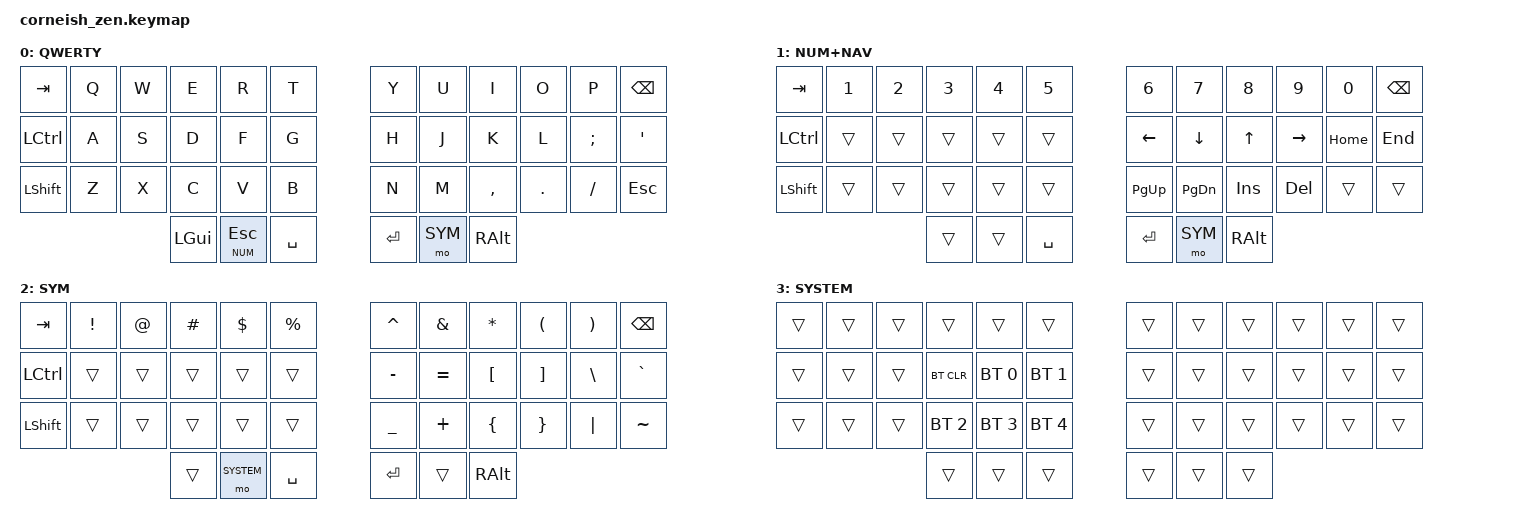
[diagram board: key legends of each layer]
// vim: ft=cpp

#include <behaviors.dtsi>
#include <dt-bindings/zmk/keys.h>
#include <dt-bindings/zmk/bt.h>

#define QWERTY 0
#define NUM 1
#define SYM 2
#define SYSTEM 3

/ {
  keymap {
    compatible = "zmk,keymap";

    /**********************************************************************
     * QWERTY (BASE)
     *
     * -----------------------------------------------------------------------------------------
     * |  TAB |  Q  |  W  |  E  |  R  |  T  |   |  Y  |  U  |  I  |  O  |  P  | BKSP |
     * | CTRL |  A  |  S  |  D  |  F  |  G  |   |  H  |  J  |  K  |  L  |  ;  |  '   |
     * | SHFT |  Z  |  X  |  C  |  V  |  B  |   |  N  |  M  |  ,  |  .  |  /  | ESC  |
     *                    | GUI | LWR | SPC |   | ENT | RSE  | ALT |
     *
     * LWR is layer-tap: tap=ESC, hold=NUM
     **********************************************************************/
    default_layer {
      label = "QWERTY";
      bindings = <
        &kp TAB   &kp Q &kp W &kp E &kp R &kp T      &kp Y     &kp U     &kp I     &kp O     &kp P     &kp BSPC
        &kp LCTRL &kp A &kp S &kp D &kp F &kp G      &kp H     &kp J     &kp K     &kp L     &kp SEMI  &kp SQT
        &kp LSHFT &kp Z &kp X &kp C &kp V &kp B      &kp N     &kp M     &kp COMMA &kp DOT   &kp FSLH  &kp ESC
                           &kp LGUI &lt NUM ESC &kp SPACE      &kp RET   &mo SYM   &kp RALT
      >;
    };

    /**********************************************************************
     * NUM (Numbers + Navigation)
     *
     * -----------------------------------------------------------------------------------------
     * |  TAB |  1  |  2  |  3  |  4  |  5  |   |  6  |  7  |  8  |  9  |  0  | BKSP |
     * | CTRL |     |     |     |     |     |   | LEFT| DOWN|  UP | RGT |HOME | END  |
     * | SHFT |     |     |     |     |     |   |PGUP |PGDN | INS | DEL |     |      |
     **********************************************************************/
    num_layer {
      label = "NUM+NAV";
      bindings = <
        &kp TAB    &kp N1   &kp N2   &kp N3   &kp N4   &kp N5     &kp N6    &kp N7    &kp N8    &kp N9    &kp N0    &kp BSPC
        &kp LCTRL  &trans   &trans   &trans   &trans   &trans     &kp LEFT  &kp DOWN  &kp UP    &kp RIGHT &kp HOME  &kp END
        &kp LSHFT  &trans   &trans   &trans   &trans   &trans     &kp PG_UP &kp PG_DN &kp INS   &kp DEL   &trans    &trans
                          &trans     &trans   &kp SPACE           &kp RET   &mo SYM   &kp RALT
      >;
    };

    /**********************************************************************
     * SYM (Symbols)
     **********************************************************************/
    sym_layer {
      label = "SYM";
      bindings = <
        &kp TAB  &kp EXCL &kp AT &kp HASH &kp DLLR  &kp PRCNT   &kp CARET &kp AMPS  &kp STAR &kp LPAR  &kp RPAR  &kp BSPC
        &kp LCTRL &trans  &trans &trans   &trans    &trans      &kp MINUS &kp EQUAL &kp LBKT &kp RBKT  &kp BSLH  &kp GRAVE
        &kp LSHFT &trans  &trans &trans   &trans    &trans      &kp UNDER &kp PLUS  &kp LBRC &kp RBRC  &kp PIPE  &kp TILDE
                         &trans  &mo SYSTEM &kp SPACE          &kp RET   &trans    &kp RALT
      >;
    };

    /**********************************************************************
     * SYSTEM (Bluetooth)
     **********************************************************************/
    system_layer {
      label = "SYSTEM";
      bindings = <
        &trans &trans &trans &trans       &trans       &trans        &trans &trans &trans &trans &trans &trans
        &trans &trans &trans &bt BT_CLR   &bt BT_SEL 0 &bt BT_SEL 1  &trans &trans &trans &trans &trans &trans
        &trans &trans &trans &bt BT_SEL 2 &bt BT_SEL 3 &bt BT_SEL 4  &trans &trans &trans &trans &trans &trans
                           &trans       &trans       &trans          &trans &trans &trans
      >;
    };

  };
};
